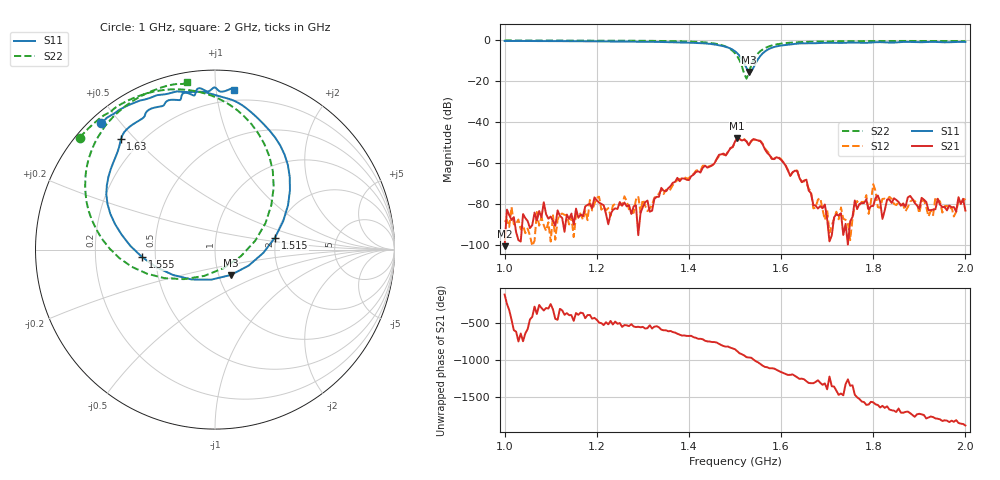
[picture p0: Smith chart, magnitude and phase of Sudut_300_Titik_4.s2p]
# Hz S RI R 50
! CMT, C1220, 16058040, 17.2.0/1
! Date: 14/08/2018 12:33:17
! Data: Format (Calibration Info)
! Freq  S11: Re/Im (F2)  S21: Re/Im (F2)  S12: Re/Im (F2)  S22: Re/Im (F2)
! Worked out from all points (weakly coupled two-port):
!   201 points, 1 GHz to 2 GHz, reference 50 ohm
!   highest |S21| = -47.86 dB at 1.505 GHz (marker M1); lowest = -100.7 dB at 1 GHz (marker M2)
!   lowest |S11| = -15.6 dB at 1.53 GHz (marker M3), VSWR 1.40, Z = 57 - j16.6 ohm
!   |S11| at or under -10 dB: 1.517 GHz to 1.548 GHz (31.62 MHz wide, 2.06 % of centre)
!   |S22| runs from -18.9 to -0.2 dB; largest |S21 - S12| = 0.00024
!   S11 on the Smith chart (normalised r, x): 1 GHz: 0.03, +0.45; 1.515 GHz: 1.97, +0.30; 1.555 GHz: 0.42, -0.04; 1.63 GHz: 0.13, +0.45; 2 GHz: 0.12, +1.12
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1e9  -0.6332 0.7081  -3.2e-06 -8.71e-06  3.57e-05 -8.43e-06  -0.7532 0.6237
1.17e9  -0.4564 0.8154  5.03e-05 -2.08e-06  2.02e-05 -3.55e-05  -0.6172 0.7491
1.32e9  -0.2133 0.8813  -5.94e-05 3.29e-05  -7.13e-05 6.24e-05  -0.4308 0.8536
1.335e9  -0.1921 0.8798  -0.000145 3.44e-05  -0.000166 7.28e-05  -0.4021 0.8633
1.375e9  -0.0782 0.8794  7.54e-05 0.000426  3.85e-05 0.000376  -0.3077 0.8861
1.45e9  0.1926 0.7729  0.00074 -0.00046  0.000695 -0.000519  0.0212 0.8403
1.5e9  0.4176 0.331  -0.00211 -0.00257  -0.00201 -0.00244  0.327 0.3467
1.505e9  0.407 0.2474  -0.00374 -0.00154  -0.00359 -0.00161  0.3142 0.249
1.515e9  0.3344 0.0672  -0.00338 0.00102  -0.00348 0.000966  0.2237 0.0487
1.525e9  0.187 -0.0897  -0.00179 0.00279  -0.00184 0.00286  0.0479 -0.1035
1.53e9  0.0875 -0.1416  -0.0013 0.00236  -0.00133 0.00235  -0.0607 -0.1469
1.555e9  -0.4069 -0.0412  0.00289 0.00175  0.00292 0.0019  -0.5348 -0.0459
1.62e9  -0.5342 0.5713  -0.000211 -0.000439  -0.000192 -0.000439  -0.7061 0.4969
1.63e9  -0.5244 0.6142  -0.00041 -0.000502  -0.000376 -0.000551  -0.6916 0.5419
1.655e9  -0.4552 0.6993  -0.000362 0.000147  -0.000311 8.51e-05  -0.6507 0.629
1.67e9  -0.4065 0.7291  -6.14e-05 7.06e-05  -5.38e-05 5.57e-05  -0.6252 0.6696
1.785e9  -0.1919 0.8353  -0.000122 -4.14e-05  -0.000121 -0.00011  -0.4477 0.8343
1.79e9  -0.1895 0.8413  -6.74e-05 -2.8e-05  -5.23e-05 -2.31e-05  -0.4405 0.8387
1.8e9  -0.1858 0.8596  -5.46e-05 -7.06e-05  -0.000295 -6.25e-05  -0.4265 0.8471
1.81e9  -0.1739 0.8725  -0.000153 -4.53e-05  -7.79e-05 2.88e-05  -0.4129 0.8552
1.835e9  -0.1215 0.8595  -9.25e-05 8.89e-05  -0.000126 7.89e-05  -0.3787 0.8719
2e9  0.1067 0.8918  1.23e-05 -6.74e-05  1.28e-05 -0.000133  -0.1555 0.9311
